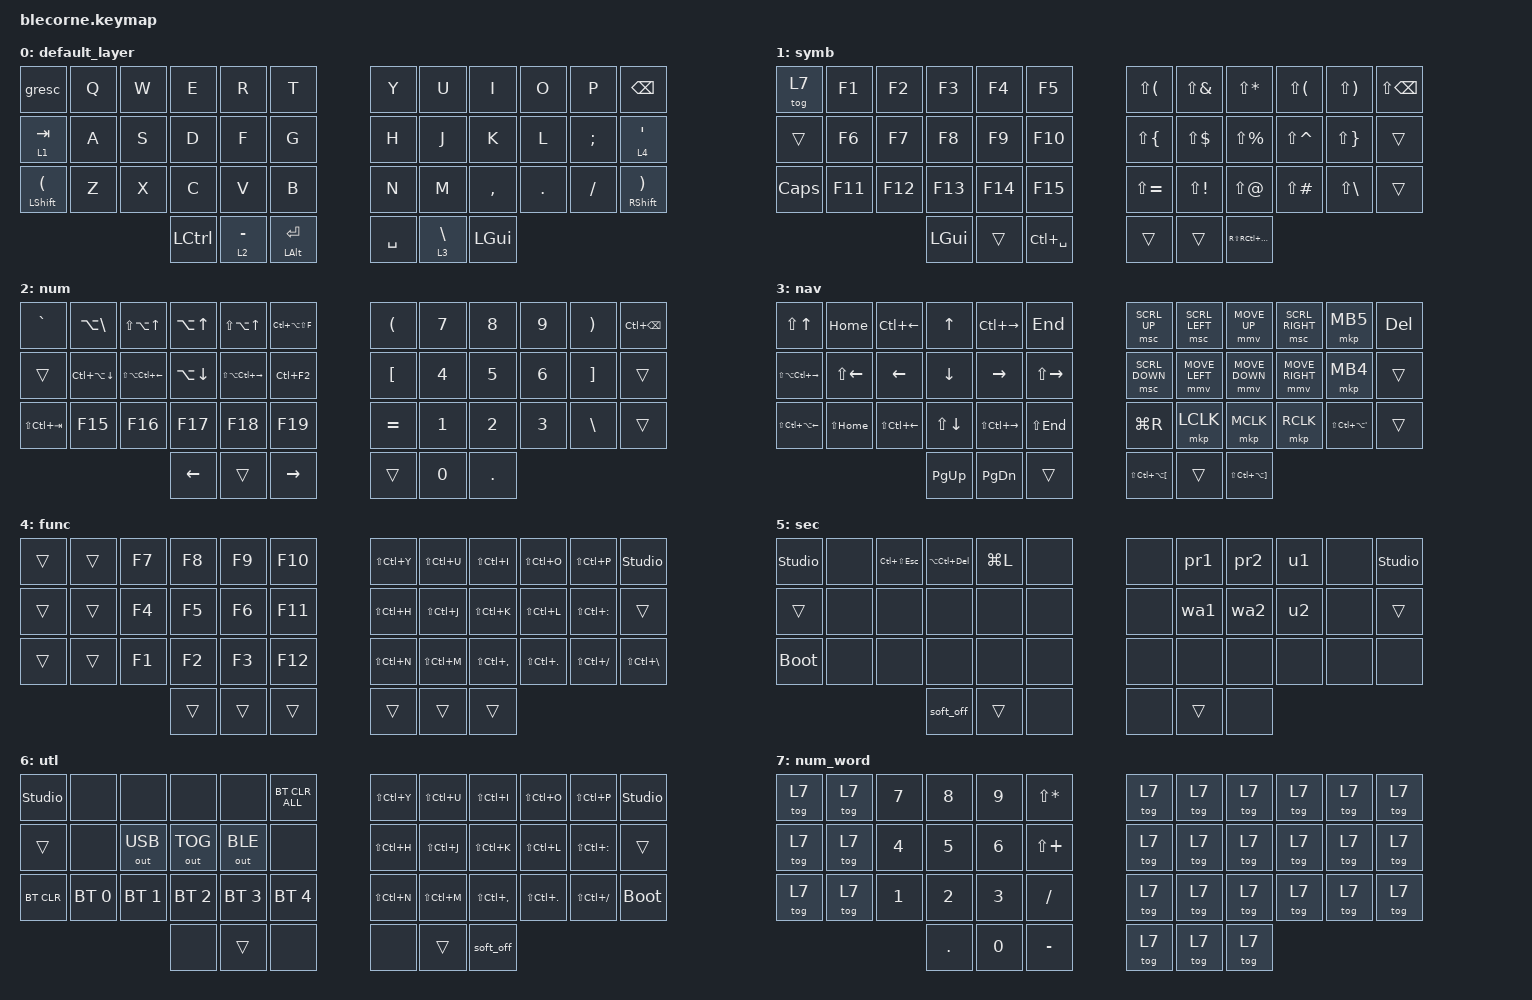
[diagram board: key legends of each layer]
/*
 * Copyright (c) 2020 The ZMK Contributors
 *
 * SPDX-License-Identifier: MIT
 */

#include <behaviors.dtsi>
#include <dt-bindings/zmk/bt.h>
#include <dt-bindings/zmk/keys.h>
#include <dt-bindings/zmk/outputs.h>
#include <dt-bindings/zmk/pointing.h>

&gresc {
    keep-mods = <(MOD_LSFT|MOD_RSFT)>;
    mods = <(MOD_LSFT|MOD_RSFT|MOD_LCTL|MOD_RCTL)>;
};

/ {
    combos {
        compatible = "zmk,combos";

        caps_lock {
            bindings = <&kp CAPS>;
            key-positions = <24 35>;
        };

        left_meh {
            bindings = <&kp LC(LA(LEFT_SHIFT))>;
            key-positions = <24 25>;
        };

        right_meh {
            bindings = <&kp LC(LA(LEFT_SHIFT))>;
            key-positions = <35 34>;
        };

        left_hyper {
            bindings = <&kp LA(LC(LG(LEFT_SHIFT)))>;
            key-positions = <24 25 26>;
        };

        right_hyper {
            bindings = <&kp LA(LC(LG(LEFT_SHIFT)))>;
            key-positions = <35 34 33>;
        };

        ctrl_alt_del_left {
            bindings = <&kp LA(LC(DELETE))>;
            key-positions = <25 26 27 28>;
        };

        ctrl_alt_del_right {
            bindings = <&kp LA(LC(DELETE))>;
            key-positions = <34 33 32 31>;
        };
    };

    macros {
        pr1: p1 {
            compatible = "zmk,behavior-macro";
            #binding-cells = <0>;
            bindings = <&kp W &kp A &kp Z &kp Q &kp N1 &kp D &kp B &kp POUND &kp LT &kp COMMA &kp LBKT &kp I>;
            label = "P1";
        };

        pr2: p2 {
            compatible = "zmk,behavior-macro";
            #binding-cells = <0>;
            bindings = <&kp H &kp LS(C) &kp LS(H) &kp V &kp LS(P) &kp LS(Q) &kp EXCL &kp LS(N) &kp LS(M) &kp LS(L) &kp E &kp LS(B)>;
            label = "P2";
        };

        u1: u1 {
            compatible = "zmk,behavior-macro";
            #binding-cells = <0>;
            bindings = <&kp A &kp A &kp R &kp O &kp N &kp DOT &kp R &kp E &kp E &kp V &kp E &kp S &kp AT &kp C &kp O &kp R &kp G &kp A &kp N &kp DOT &kp C &kp O &kp M>;
            label = "U1";
        };

        u2: u2 {
            compatible = "zmk,behavior-macro";
            #binding-cells = <0>;
            bindings = <&kp W &kp O &kp R &kp K &kp N1 &kp N2 &kp N3 &kp LS(B) &kp O &kp O &kp H &kp O &kp O &kp N7 &kp N7>;
            label = "U2";
        };

        wa1: wa1 {
            compatible = "zmk,behavior-macro";
            #binding-cells = <0>;
            bindings = <&kp U &kp LBRC &kp O &kp COLON &kp LS(C) &kp AT &kp R &kp S &kp DOT &kp LS(L) &kp LS(I) &kp Q>;
            label = "WA1";
        };

        wa2: wa2 {
            compatible = "zmk,behavior-macro";
            #binding-cells = <0>;
            bindings = <&kp LT &kp MINUS &kp N3 &kp LS(L) &kp DOT &kp LS(Z) &kp PLUS &kp LS(X) &kp LS(D) &kp I &kp LS(Y) &kp S>;
            label = "WA2";
        };
    };

    keymap {
        compatible = "zmk,keymap";

        default_layer {
            bindings = <
&gresc          &kp Q  &kp W  &kp E      &kp R        &kp T                  &kp Y      &kp U       &kp I         &kp O    &kp P     &kp BSPC
&lt 1 TAB       &kp A  &kp S  &kp D      &kp F        &kp G                  &kp H      &kp J       &kp K         &kp L    &kp SEMI  &lt 4 APOS
&mt LSHFT LPAR  &kp Z  &kp X  &kp C      &kp V        &kp B                  &kp N      &kp M       &kp COMMA     &kp DOT  &kp FSLH  &mt RIGHT_SHIFT RIGHT_PARENTHESIS
                              &kp LCTRL  &lt 2 MINUS  &mt LEFT_ALT RETURN    &kp SPACE  &lt 3 BSLH  &kp LEFT_GUI
            >;
        };

        symb {
            bindings = <
&tog 7        &kp F1   &kp F2   &kp F3        &kp F4   &kp F5           &kp LS(LPAR)   &kp LS(AMPS)  &kp LS(STAR)      &kp LS(LPAR)   &kp LS(RPAR)  &kp LS(BACKSPACE)
&trans        &kp F6   &kp F7   &kp F8        &kp F9   &kp F10          &kp LS(LBRC)   &kp LS(DLLR)  &kp LS(PRCNT)     &kp LS(CARET)  &kp LS(RBRC)  &trans
&kp CAPSLOCK  &kp F11  &kp F12  &kp F13       &kp F14  &kp F15          &kp LS(EQUAL)  &kp LS(EXCL)  &kp LS(AT)        &kp LS(POUND)  &kp LS(BSLH)  &trans
                                &kp LEFT_GUI  &trans   &kp LC(SPACE)    &trans         &trans        &kp RS(RC(RALT))
            >;
        };

        num {
            bindings = <
&kp GRAVE        &kp LA(BACKSLASH)  &kp LS(LA(UP))        &kp LA(UP)      &kp LS(LA(UP_ARROW))   &kp LC(LA(LS(F)))    &kp LPAR   &kp N7  &kp N8      &kp N9  &kp RPAR  &kp LC(BSPC)
&trans           &kp LC(LA(DOWN))   &kp LS(LA(LC(LEFT)))  &kp LA(DOWN)    &kp LS(LA(LC(RIGHT)))  &kp LC(F2)           &kp LBKT   &kp N4  &kp N5      &kp N6  &kp RBKT  &trans
&kp LS(LC(TAB))  &kp F15            &kp F16               &kp F17         &kp F18                &kp F19              &kp EQUAL  &kp N1  &kp N2      &kp N3  &kp BSLH  &trans
                                                          &kp LEFT_ARROW  &trans                 &kp RIGHT            &trans     &kp N0  &kp PERIOD
            >;
        };

        nav {
            bindings = <
&kp LS(UP)                   &kp HOME      &kp LC(LEFT)      &kp UP        &kp LC(RIGHT)      &kp END          &msc SCRL_UP                  &msc SCRL_LEFT  &mmv MOVE_UP                   &msc SCRL_RIGHT  &mkp MB5              &kp DEL
&kp LS(LA(LC(RIGHT_ARROW)))  &kp LS(LEFT)  &kp LEFT          &kp DOWN      &kp RIGHT          &kp LS(RIGHT)    &msc SCRL_DOWN                &mmv MOVE_LEFT  &mmv MOVE_DOWN                 &mmv MOVE_RIGHT  &mkp MB4              &trans
&kp LS(LC(LA(LEFT)))         &kp LS(HOME)  &kp LS(LC(LEFT))  &kp LS(DOWN)  &kp LS(LC(RIGHT))  &kp LS(END)      &kp LG(R)                     &mkp LCLK       &mkp MCLK                      &mkp RCLK        &kp LS(LC(LA(APOS)))  &trans
                                                             &kp PAGE_UP   &kp PAGE_DOWN      &trans           &kp LS(LC(LA(LEFT_BRACKET)))  &trans          &kp LS(LC(LA(RIGHT_BRACKET)))
            >;
        };

        func {
            bindings = <
&trans  &trans  &kp F7  &kp F8  &kp F9  &kp F10    &kp LS(LC(Y))  &kp LS(LC(U))  &kp LS(LC(I))      &kp LS(LC(O))       &kp LS(LC(P))      &studio_unlock
&trans  &trans  &kp F4  &kp F5  &kp F6  &kp F11    &kp LS(LC(H))  &kp LS(LC(J))  &kp LS(LC(K))      &kp LS(LC(L))       &kp LS(LC(COLON))  &trans
&trans  &trans  &kp F1  &kp F2  &kp F3  &kp F12    &kp LS(LC(N))  &kp LS(LC(M))  &kp LS(LC(COMMA))  &kp LS(LC(PERIOD))  &kp LS(LC(FSLH))   &kp LS(LC(BSLH))
                        &trans  &trans  &trans     &trans         &trans         &trans
            >;
        };

        sec {
            bindings = <
&studio_unlock  &none  &kp LC(LS(ESC))  &kp LA(LC(DELETE))  &kp LG(L)  &none    &none  &pr1    &pr2   &u1    &none  &studio_unlock
&trans          &none  &none            &none               &none      &none    &none  &wa1    &wa2   &u2    &none  &trans
&bootloader     &none  &none            &none               &none      &none    &none  &none   &none  &none  &none  &none
                                        &soft_off           &trans     &none    &none  &trans  &none
            >;
        };

        utl {
            bindings = <
&studio_unlock  &none         &none         &none         &none         &bt BT_CLR_ALL    &kp LS(LC(Y))  &kp LS(LC(U))  &kp LS(LC(I))      &kp LS(LC(O))       &kp LS(LC(P))      &studio_unlock
&trans          &none         &out OUT_USB  &out OUT_TOG  &out OUT_BLE  &none             &kp LS(LC(H))  &kp LS(LC(J))  &kp LS(LC(K))      &kp LS(LC(L))       &kp LS(LC(COLON))  &trans
&bt BT_CLR      &bt BT_SEL 0  &bt BT_SEL 1  &bt BT_SEL 2  &bt BT_SEL 3  &bt BT_SEL 4      &kp LS(LC(N))  &kp LS(LC(M))  &kp LS(LC(COMMA))  &kp LS(LC(PERIOD))  &kp LS(LC(SLASH))  &bootloader
                                            &none         &trans        &none             &none          &trans         &soft_off
            >;
        };

        num_word {
            bindings = <
&tog 7  &tog 7  &kp N7  &kp N8   &kp N9  &kp LS(STAR)    &tog 7  &tog 7  &tog 7  &tog 7  &tog 7  &tog 7
&tog 7  &tog 7  &kp N4  &kp N5   &kp N6  &kp LS(PLUS)    &tog 7  &tog 7  &tog 7  &tog 7  &tog 7  &tog 7
&tog 7  &tog 7  &kp N1  &kp N2   &kp N3  &kp FSLH        &tog 7  &tog 7  &tog 7  &tog 7  &tog 7  &tog 7
                        &kp DOT  &kp N0  &kp MINUS       &tog 7  &tog 7  &tog 7
            >;
        };
    };

    conditional_layers {
        compatible = "zmk,conditional-layers";

        sec {
            if-layers = <1 2>;
            then-layer = <5>;
        };

        utl {
            if-layers = <3 4>;
            then-layer = <6>;
        };
    };
};
